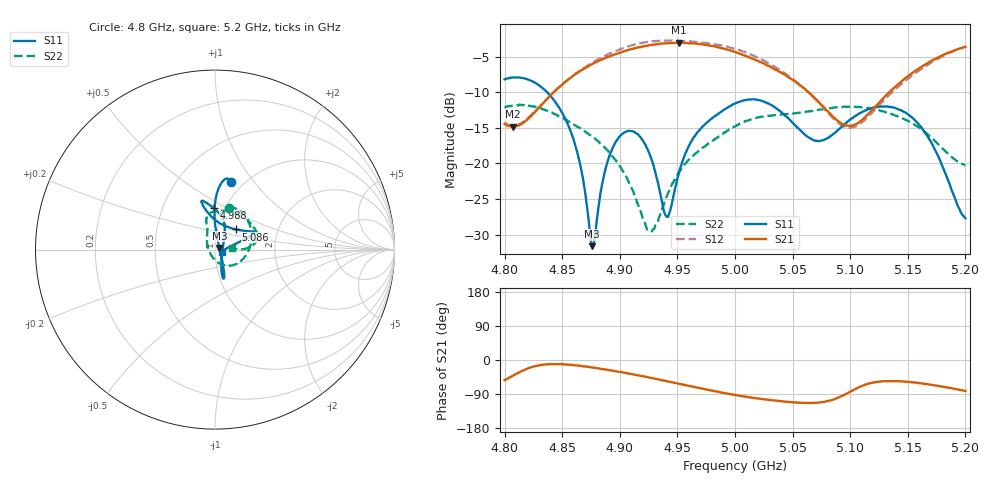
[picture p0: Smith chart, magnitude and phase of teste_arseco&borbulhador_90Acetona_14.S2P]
! Network Analyzer HP8722D
! Hewlett-Packard
! Data name: Linha & Wilkinson
! Saver's name: Rodrigo Anjos
! Comments: Teste da utilização de aquisição
! continua pelo VNA HP8722D
! Time and date: 17/4/2025 11:10
!  Frequency  S11  S21  S12  S22
# HZ  S  MA R 50
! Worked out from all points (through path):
!   401 points, 4.8 GHz to 5.2 GHz, reference 50 ohm
!   highest |S21| = -3.07 dB at 4.951 GHz (marker M1); lowest = -14.9 dB at 4.807 GHz (marker M2)
!   lowest |S11| = -31.6 dB at 4.876 GHz (marker M3), VSWR 1.05, Z = 52.5 + j1.03 ohm
!   |S11| at or under -10 dB: 4.837 GHz to end of sweep
!   |S22| runs from -29.6 to -11.7 dB; largest |S21 - S12| = 1.4
!   S11 on the Smith chart (normalised r, x): 4.8 GHz: 0.87, +0.78; 4.988 GHz: 0.89, +0.43; 5.086 GHz: 1.23, +0.28; 5.2 GHz: 1.08, -0.03
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4.8e9  0.3889 76.9  0.1895 -53.1  0.193 82.1  0.2454 72.1
4.807e9  0.4006 79.0  0.1809 -41.9  0.1843 92.3  0.2546 66.1
4.844e9  0.2699 89.6  0.3236 -10.6  0.3244 122.7  0.2208 22.6
4.858e9  0.1626 90.2  0.4033 -12.9  0.4051 122.4  0.1921 1.8
4.867e9  0.08608 84.0  0.4522 -16.1  0.4552 121.2  0.1737 -12.2
4.876e9  0.02624 21.9  0.4981 -19.7  0.5093 118.7  0.1546 -26.5
4.889e9  0.1005 -63.3  0.5564 -25.7  0.5776 114.7  0.125 -46.1
4.902e9  0.1607 -71.4  0.6059 -32.4  0.6403 109.1  0.09013 -66.3
4.925e9  0.121 -72.7  0.6735 -45.8  0.7147 96.1  0.03368 -142.2
4.934e9  0.06795 -57.7  0.6888 -51.7  0.7268 90.3  0.04164 161.6
4.941e9  0.04219 -7.3  0.6973 -56.1  0.7281 85.9  0.0596 138.2
4.951e9  0.08366 52.4  0.7021 -62.6  0.7246 79.7  0.08589 121.6
4.965e9  0.1552 70.4  0.6962 -71.6  0.7141 70.7  0.1163 111.3
4.988e9  0.2307 91.7  0.645 -85.6  0.6746 55.8  0.1595 108.0
5e9  0.2637 100.1  0.6053 -92.4  0.6385 48.4  0.1819 105.2
5.028e9  0.2646 105.6  0.4873 -104.6  0.5104 34.0  0.2152 88.9
5.067e9  0.1474 76.5  0.2998 -113.4  0.2972 27.5  0.2332 54.4
5.086e9  0.1624 43.6  0.2094 -103.6  0.2044 39.3  0.2459 36.4
5.105e9  0.2168 28.2  0.1884 -75.6  0.1826 69.3  0.2491 22.2
5.134e9  0.2498 23.2  0.3161 -55.4  0.3023 91.0  0.225 8.9
5.165e9  0.1646 18.9  0.4937 -63.1  0.4778 85.1  0.1658 1.1
5.2e9  0.04119 -16.8  0.6575 -81.8  0.6621 67.5  0.09698 5.6
